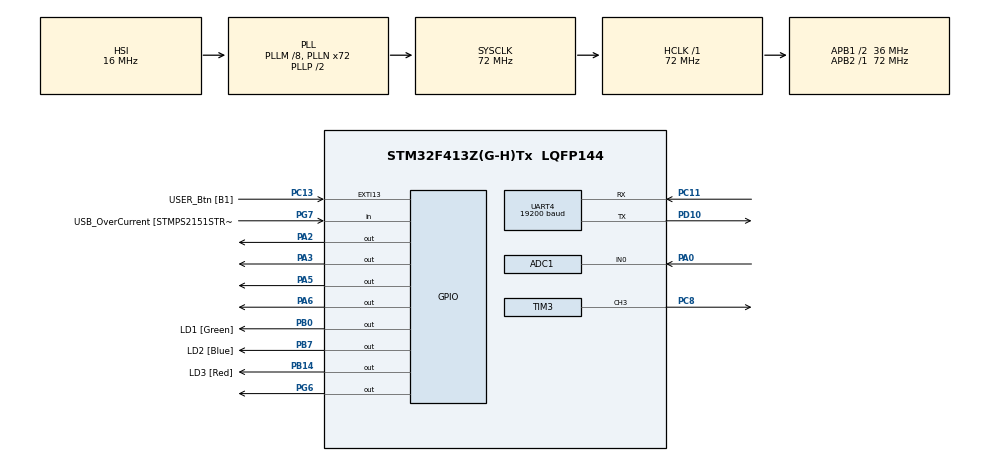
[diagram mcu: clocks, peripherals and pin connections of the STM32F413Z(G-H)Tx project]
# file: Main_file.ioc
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ADC1.Channel-2\#ChannelRegularConversion=ADC_CHANNEL_0
ADC1.NbrOfConversionFlag=1
ADC1.Rank-2\#ChannelRegularConversion=1
ADC1.SamplingTime-2\#ChannelRegularConversion=ADC_SAMPLETIME_3CYCLES
ADC1.master=1
Mcu.Family=STM32F4
Mcu.Name=STM32F413Z(G-H)Tx
Mcu.Package=LQFP144
NVIC.PriorityGroup=NVIC_PRIORITYGROUP_4
NVIC.TIM2_IRQn=true\:0\:0\:false\:false\:true\:true\:true
NVIC.UART4_IRQn=true\:0\:0\:false\:false\:true\:true\:true
PA0.Signal=ADCx_IN0
PA10.GPIO_Label=USB_ID
PA10.Signal=USB_OTG_FS_ID
PA11.GPIO_Label=USB_DM
PA11.Signal=USB_OTG_FS_DM
PA12.GPIO_Label=USB_DP
PA12.Signal=USB_OTG_FS_DP
PA13.GPIO_Label=TMS
PA13.Mode=Serial_Wire
PA13.Signal=SYS_JTMS-SWDIO
PA14.GPIO_Label=TCK
PA14.Mode=Serial_Wire
PA14.Signal=SYS_JTCK-SWCLK
PA2.Signal=GPIO_Output
PA3.Signal=GPIO_Output
PA5.Signal=GPIO_Output
PA6.Signal=GPIO_Output
PA8.GPIO_Label=USB_SOF [TP1]
PA8.Signal=USB_OTG_FS_SOF
PA9.GPIO_Label=USB_VBUS
PA9.Signal=USB_OTG_FS_VBUS
PB0.GPIO_Label=LD1 [Green]
PB0.Signal=GPIO_Output
PB14.GPIO_Label=LD3 [Red]
PB14.Signal=GPIO_Output
PB3.GPIO_Label=SWO
PB3.Signal=SYS_JTDO-SWO
PB7.GPIO_Label=LD2 [Blue]
PB7.Signal=GPIO_Output
PC11.Mode=Asynchronous
PC11.Signal=UART4_RX
PC13.GPIO_Label=USER_Btn [B1]
PC13.Signal=GPXTI13
PC14-OSC32_IN.Signal=RCC_OSC32_IN
PC15-OSC32_OUT.Signal=RCC_OSC32_OUT
PC8.Signal=S_TIM3_CH3
PD10.Mode=Asynchronous
PD10.Signal=UART4_TX
PD8.GPIO_Label=STLK_RX [STM32F103CBT6_PA3]
PD8.Signal=USART3_TX
PD9.GPIO_Label=STLK_TX [STM32F103CBT6_PA2]
PD9.Signal=USART3_RX
PG6.Signal=GPIO_Output
PG7.GPIO_Label=USB_OverCurrent [STMPS2151STR_FAULT]
PG7.Signal=GPIO_Input
PH0\ -\ OSC_IN.GPIO_Label=MCO
PH0\ -\ OSC_IN.Mode=HSE-External-Oscillator
PH0\ -\ OSC_IN.Signal=RCC_OSC_IN
PH1\ -\ OSC_OUT.Mode=HSE-External-Oscillator
PH1\ -\ OSC_OUT.Signal=RCC_OSC_OUT
ProjectManager.HeapSize=0x200
ProjectManager.StackSize=0x400
ProjectManager.TargetToolchain=MDK-ARM V5.32
RCC.48MHZClocksFreq_Value=24000000
RCC.AHBFreq_Value=72000000
RCC.APB1CLKDivider=RCC_HCLK_DIV2
RCC.APB1Freq_Value=36000000
RCC.APB1TimFreq_Value=72000000
RCC.APB2Freq_Value=72000000
RCC.APB2TimFreq_Value=72000000
RCC.CortexFreq_Value=72000000
RCC.HCLKFreq_Value=72000000
RCC.HSE_VALUE=8000000
RCC.HSI_VALUE=16000000
RCC.PLLM=8
RCC.PLLMUL=RCC_PLL_MUL9
RCC.PLLN=72
RCC.PRESCALERUSB=RCC_USBCLKSOURCE_PLL_DIV1_5
RCC.SYSCLKFreq_VALUE=72000000
RCC.SYSCLKSource=RCC_SYSCLKSOURCE_PLLCLK
RCC.SYSCLKSourceVirtual=RCC_SYSCLKSOURCE_PLLCLK
RCC.USBFreq_Value=72000000
RCC.VCOOutputFreq_Value=144000000
SH.ADCx_IN0.0=ADC1_IN0,IN0
SH.S_TIM3_CH3.0=TIM3_CH3,PWM Generation3 CH3
TIM2.Period=4294967295
TIM2.Prescaler=71
TIM3.Channel-PWM\ Generation3\ CH3=TIM_CHANNEL_3
TIM3.Period=20000-1
TIM3.Prescaler=72-1
TIM3.Pulse-PWM\ Generation3\ CH3=1000
TIM5.Prescaler=14400-1
UART4.BaudRate=19200
UART4.VirtualMode=Asynchronous
VP_TIM2_VS_ClockSourceINT.Mode=Internal
VP_TIM3_VS_ClockSourceINT.Mode=Internal
VP_TIM5_VS_ClockSourceINT.Mode=Internal
board=NUCLEO-F413ZH

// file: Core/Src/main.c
/* USER CODE BEGIN Header */
/**
  ******************************************************************************
  * @file           : main.c
  * @brief          : Main program body
  ******************************************************************************
  * @attention
  *
  * <h2><center>&copy; Copyright (c) 2022 STMicroelectronics.
  * All rights reserved.</center></h2>
  *
  * This software component is licensed by ST under BSD 3-Clause license,
  * the "License"; You may not use this file except in compliance with the
  * License. You may obtain a copy of the License at:
  *                        opensource.org/licenses/BSD-3-Clause
  *
  ******************************************************************************
  */
/* USER CODE END Header */
#include "main.h"

/* USER CODE BEGIN Includes */
#include "step.h"
#include "servo.h"
#include "remoteControl.h"
#include "Reverse.h"
/* USER CODE END Includes */

ADC_HandleTypeDef hadc1;

TIM_HandleTypeDef htim2;
TIM_HandleTypeDef htim3;
TIM_HandleTypeDef htim5;

UART_HandleTypeDef huart4;

/* USER CODE BEGIN PV */
uint16_t Servo;
uint16_t Step;
uint8_t counter = 0;

uint8_t sendData[1];
uint8_t getData[1]; // array for received byte
uint8_t Data[6]; // array for all received bytes. byte1,6 - check byte 0x7E; byte2,3 - data for servo and motor; byte4 - buttonState; byte5 - check sum

uint8_t connection = 0;

uint8_t Servo_array[5000] = {0};
uint8_t Servo_reverse_array[5000] = {0};

uint8_t Step_array[5000] = {0};
uint8_t Step_reverse_array[5000] = {0};

//uint32_t Time_array[3000] = {0};
//uint32_t Time_reverse_array[3000] = {0};

uint16_t sizeofArr = 0; // size of servo and motor arrays

uint8_t ButtonCnt = 0; // How many times buttonState is 2

float c[4] = {0, 0, 0, 0};

uint8_t DataStatus=0;
/* USER CODE END PV */

void SystemClock_Config(void);
static void MX_GPIO_Init(void);
static void MX_ADC1_Init(void);
static void MX_TIM2_Init(void);
static void MX_TIM3_Init(void);
static void MX_UART4_Init(void);
static void MX_TIM5_Init(void);

/* USER CODE BEGIN 0 */
void HAL_UART_RxCpltCallback(UART_HandleTypeDef *huart)
	{
		Data[counter] = getData[0]; // receive data byte by byte and save in Data[6] array
		counter += 1;

		if (counter == 6) // when counter is 6 => all data has beeng received
		{
			counter = 0;
			if (Data[0] == Data[5] && Data[0] == 0x7E && Data[4] == crc8(Data, 4))
				{
				DataStatus = 1; // Data transmition has been ended and data are correct
				if (connection == 0) connection = 1; // if this is the first data receiving, connection is 0
				if (Data[3] == 2) ButtonCnt += 1; // Check buttonState
				}
		}
	}

/* USER CODE END 0 */

int main(void)
{

  /* MCU Configuration--------------------------------------------------------*/

  /* Reset of all peripherals, Initializes the Flash interface and the Systick. */
  HAL_Init();

  /* Configure the system clock */
  SystemClock_Config();

  /* Initialize all configured peripherals */
  MX_GPIO_Init();
  MX_ADC1_Init();
  MX_TIM2_Init();
  MX_TIM3_Init();
  MX_UART4_Init();
  MX_TIM5_Init();
  /* USER CODE BEGIN 2 */
	HAL_ADC_Start(&hadc1);
	HAL_TIM_PWM_Start(&htim3, TIM_CHANNEL_3);
	HAL_TIM_Base_Start(&htim2);
	HAL_TIM_Base_Start(&htim5);

	while (connection != 1) // wait for data package to establish connection
	{
		HAL_UART_Receive_IT(&huart4, getData, 1);
	}
	HAL_Delay(100);

	sendValue(&huart4, c, 0, 0); // send response to remote control
	DataStatus = 0;
	__HAL_TIM_SetCounter(&htim5, 0);
  /* USER CODE END 2 */

  /* Infinite loop */
  while (1)
  {

    /* USER CODE BEGIN 3 */
		HAL_UART_Receive_IT(&huart4, getData, 1);

		if (DataStatus == 1) // if data is correct
		{
		if (ButtonCnt == 2) // if the button on the remote has been pressed twice => stop reverse mode
		{										// if ButtonCnt is 1 => start data aggregation in stepSetValue function in microDelay subfunction in step.c library
			servoStop(&htim3);
			CreateReverseArr(); // create array with reverse servo and motor values
			ProccesRevArr(&htim3, &htim2, &htim5, &huart4); // reverse array processing
		}
		servoSetPosition(&htim3, Data[1]);
		stepSetValue(&htim2, 3, Data[2]);

		/**if (ButtonCnt == 1)
		{
			WrittingArr(Data[1], Data[2], currentTime);
		}**/
		DataStatus = 0;
		}
  }

  /* USER CODE END 3 */
}

void SystemClock_Config(void)
{
  RCC_OscInitTypeDef RCC_OscInitStruct = {0};
  RCC_ClkInitTypeDef RCC_ClkInitStruct = {0};

  /** Configure the main internal regulator output voltage
  */
  __HAL_RCC_PWR_CLK_ENABLE();
  __HAL_PWR_VOLTAGESCALING_CONFIG(PWR_REGULATOR_VOLTAGE_SCALE1);
  /** Initializes the RCC Oscillators according to the specified parameters
  * in the RCC_OscInitTypeDef structure.
  */
  RCC_OscInitStruct.OscillatorType = RCC_OSCILLATORTYPE_HSI;
  RCC_OscInitStruct.HSIState = RCC_HSI_ON;
  RCC_OscInitStruct.HSICalibrationValue = RCC_HSICALIBRATION_DEFAULT;
  RCC_OscInitStruct.PLL.PLLState = RCC_PLL_ON;
  RCC_OscInitStruct.PLL.PLLSource = RCC_PLLSOURCE_HSI;
  RCC_OscInitStruct.PLL.PLLM = 8;
  RCC_OscInitStruct.PLL.PLLN = 72;
  RCC_OscInitStruct.PLL.PLLP = RCC_PLLP_DIV2;
  RCC_OscInitStruct.PLL.PLLQ = 2;
  RCC_OscInitStruct.PLL.PLLR = 2;
  if (HAL_RCC_OscConfig(&RCC_OscInitStruct) != HAL_OK)
  {
    Error_Handler();
  }
  /** Initializes the CPU, AHB and APB buses clocks
  */
  RCC_ClkInitStruct.ClockType = RCC_CLOCKTYPE_HCLK|RCC_CLOCKTYPE_SYSCLK
                              |RCC_CLOCKTYPE_PCLK1|RCC_CLOCKTYPE_PCLK2;
  RCC_ClkInitStruct.SYSCLKSource = RCC_SYSCLKSOURCE_PLLCLK;
  RCC_ClkInitStruct.AHBCLKDivider = RCC_SYSCLK_DIV1;
  RCC_ClkInitStruct.APB1CLKDivider = RCC_HCLK_DIV2;
  RCC_ClkInitStruct.APB2CLKDivider = RCC_HCLK_DIV1;

  if (HAL_RCC_ClockConfig(&RCC_ClkInitStruct, FLASH_LATENCY_2) != HAL_OK)
  {
    Error_Handler();
  }
}

static void MX_ADC1_Init(void)
{

  ADC_ChannelConfTypeDef sConfig = {0};

  /** Configure the global features of the ADC (Clock, Resolution, Data Alignment and number of conversion)
  */
  hadc1.Instance = ADC1;
  hadc1.Init.ClockPrescaler = ADC_CLOCK_SYNC_PCLK_DIV2;
  hadc1.Init.Resolution = ADC_RESOLUTION_12B;
  hadc1.Init.ScanConvMode = DISABLE;
  hadc1.Init.ContinuousConvMode = DISABLE;
  hadc1.Init.DiscontinuousConvMode = DISABLE;
  hadc1.Init.ExternalTrigConvEdge = ADC_EXTERNALTRIGCONVEDGE_NONE;
  hadc1.Init.ExternalTrigConv = ADC_SOFTWARE_START;
  hadc1.Init.DataAlign = ADC_DATAALIGN_RIGHT;
  hadc1.Init.NbrOfConversion = 1;
  hadc1.Init.DMAContinuousRequests = DISABLE;
  hadc1.Init.EOCSelection = ADC_EOC_SINGLE_CONV;
  if (HAL_ADC_Init(&hadc1) != HAL_OK)
  {
    Error_Handler();
  }
  /** Configure for the selected ADC regular channel its corresponding rank in the sequencer and its sample time.
  */
  sConfig.Channel = ADC_CHANNEL_0;
  sConfig.Rank = 1;
  sConfig.SamplingTime = ADC_SAMPLETIME_3CYCLES;
  if (HAL_ADC_ConfigChannel(&hadc1, &sConfig) != HAL_OK)
  {
    Error_Handler();
  }

}

static void MX_TIM2_Init(void)
{

  TIM_ClockConfigTypeDef sClockSourceConfig = {0};
  TIM_MasterConfigTypeDef sMasterConfig = {0};

  htim2.Instance = TIM2;
  htim2.Init.Prescaler = 71;
  htim2.Init.CounterMode = TIM_COUNTERMODE_UP;
  htim2.Init.Period = 4294967295;
  htim2.Init.ClockDivision = TIM_CLOCKDIVISION_DIV1;
  htim2.Init.AutoReloadPreload = TIM_AUTORELOAD_PRELOAD_DISABLE;
  if (HAL_TIM_Base_Init(&htim2) != HAL_OK)
  {
    Error_Handler();
  }
  sClockSourceConfig.ClockSource = TIM_CLOCKSOURCE_INTERNAL;
  if (HAL_TIM_ConfigClockSource(&htim2, &sClockSourceConfig) != HAL_OK)
  {
    Error_Handler();
  }
  sMasterConfig.MasterOutputTrigger = TIM_TRGO_RESET;
  sMasterConfig.MasterSlaveMode = TIM_MASTERSLAVEMODE_DISABLE;
  if (HAL_TIMEx_MasterConfigSynchronization(&htim2, &sMasterConfig) != HAL_OK)
  {
    Error_Handler();
  }

}

static void MX_TIM3_Init(void)
{

  TIM_ClockConfigTypeDef sClockSourceConfig = {0};
  TIM_MasterConfigTypeDef sMasterConfig = {0};
  TIM_OC_InitTypeDef sConfigOC = {0};

  htim3.Instance = TIM3;
  htim3.Init.Prescaler = 72-1;
  htim3.Init.CounterMode = TIM_COUNTERMODE_UP;
  htim3.Init.Period = 20000-1;
  htim3.Init.ClockDivision = TIM_CLOCKDIVISION_DIV1;
  htim3.Init.AutoReloadPreload = TIM_AUTORELOAD_PRELOAD_DISABLE;
  if (HAL_TIM_Base_Init(&htim3) != HAL_OK)
  {
    Error_Handler();
  }
  sClockSourceConfig.ClockSource = TIM_CLOCKSOURCE_INTERNAL;
  if (HAL_TIM_ConfigClockSource(&htim3, &sClockSourceConfig) != HAL_OK)
  {
    Error_Handler();
  }
  if (HAL_TIM_PWM_Init(&htim3) != HAL_OK)
  {
    Error_Handler();
  }
  sMasterConfig.MasterOutputTrigger = TIM_TRGO_RESET;
  sMasterConfig.MasterSlaveMode = TIM_MASTERSLAVEMODE_DISABLE;
  if (HAL_TIMEx_MasterConfigSynchronization(&htim3, &sMasterConfig) != HAL_OK)
  {
    Error_Handler();
  }
  sConfigOC.OCMode = TIM_OCMODE_PWM1;
  sConfigOC.Pulse = 1000;
  sConfigOC.OCPolarity = TIM_OCPOLARITY_HIGH;
  sConfigOC.OCFastMode = TIM_OCFAST_DISABLE;
  if (HAL_TIM_PWM_ConfigChannel(&htim3, &sConfigOC, TIM_CHANNEL_3) != HAL_OK)
  {
    Error_Handler();
  }
  HAL_TIM_MspPostInit(&htim3);

}

static void MX_TIM5_Init(void)
{

  TIM_ClockConfigTypeDef sClockSourceConfig = {0};
  TIM_MasterConfigTypeDef sMasterConfig = {0};

  htim5.Instance = TIM5;
  htim5.Init.Prescaler = 14400-1;
  htim5.Init.CounterMode = TIM_COUNTERMODE_UP;
  htim5.Init.Period = 4294967295;
  htim5.Init.ClockDivision = TIM_CLOCKDIVISION_DIV1;
  htim5.Init.AutoReloadPreload = TIM_AUTORELOAD_PRELOAD_DISABLE;
  if (HAL_TIM_Base_Init(&htim5) != HAL_OK)
  {
    Error_Handler();
  }
  sClockSourceConfig.ClockSource = TIM_CLOCKSOURCE_INTERNAL;
  if (HAL_TIM_ConfigClockSource(&htim5, &sClockSourceConfig) != HAL_OK)
  {
    Error_Handler();
  }
  sMasterConfig.MasterOutputTrigger = TIM_TRGO_RESET;
  sMasterConfig.MasterSlaveMode = TIM_MASTERSLAVEMODE_DISABLE;
  if (HAL_TIMEx_MasterConfigSynchronization(&htim5, &sMasterConfig) != HAL_OK)
  {
    Error_Handler();
  }

}

static void MX_UART4_Init(void)
{

  huart4.Instance = UART4;
  huart4.Init.BaudRate = 19200;
  huart4.Init.WordLength = UART_WORDLENGTH_8B;
  huart4.Init.StopBits = UART_STOPBITS_1;
  huart4.Init.Parity = UART_PARITY_NONE;
  huart4.Init.Mode = UART_MODE_TX_RX;
  huart4.Init.HwFlowCtl = UART_HWCONTROL_NONE;
  huart4.Init.OverSampling = UART_OVERSAMPLING_16;
  if (HAL_UART_Init(&huart4) != HAL_OK)
  {
    Error_Handler();
  }

}

static void MX_GPIO_Init(void)
{
  GPIO_InitTypeDef GPIO_InitStruct = {0};

  /* GPIO Ports Clock Enable */
  __HAL_RCC_GPIOC_CLK_ENABLE();
  __HAL_RCC_GPIOH_CLK_ENABLE();
  __HAL_RCC_GPIOA_CLK_ENABLE();
  __HAL_RCC_GPIOB_CLK_ENABLE();
  __HAL_RCC_GPIOD_CLK_ENABLE();
  __HAL_RCC_GPIOG_CLK_ENABLE();

  /*Configure GPIO pin Output Level */
  HAL_GPIO_WritePin(GPIOA, GPIO_PIN_2|GPIO_PIN_3|GPIO_PIN_5|GPIO_PIN_6, GPIO_PIN_RESET);

  /*Configure GPIO pin Output Level */
  HAL_GPIO_WritePin(GPIOB, LD1_Pin|LD3_Pin|LD2_Pin, GPIO_PIN_RESET);

  /*Configure GPIO pin Output Level */
  HAL_GPIO_WritePin(GPIOG, GPIO_PIN_6, GPIO_PIN_RESET);

  /*Configure GPIO pin : USER_Btn_Pin */
  GPIO_InitStruct.Pin = USER_Btn_Pin;
  GPIO_InitStruct.Mode = GPIO_MODE_IT_RISING;
  GPIO_InitStruct.Pull = GPIO_NOPULL;
  HAL_GPIO_Init(USER_Btn_GPIO_Port, &GPIO_InitStruct);

  /*Configure GPIO pins : PA2 PA3 PA5 PA6 */
  GPIO_InitStruct.Pin = GPIO_PIN_2|GPIO_PIN_3|GPIO_PIN_5|GPIO_PIN_6;
  GPIO_InitStruct.Mode = GPIO_MODE_OUTPUT_PP;
  GPIO_InitStruct.Pull = GPIO_NOPULL;
  GPIO_InitStruct.Speed = GPIO_SPEED_FREQ_LOW;
  HAL_GPIO_Init(GPIOA, &GPIO_InitStruct);

  /*Configure GPIO pins : LD1_Pin LD3_Pin LD2_Pin */
  GPIO_InitStruct.Pin = LD1_Pin|LD3_Pin|LD2_Pin;
  GPIO_InitStruct.Mode = GPIO_MODE_OUTPUT_PP;
  GPIO_InitStruct.Pull = GPIO_NOPULL;
  GPIO_InitStruct.Speed = GPIO_SPEED_FREQ_LOW;
  HAL_GPIO_Init(GPIOB, &GPIO_InitStruct);

  /*Configure GPIO pins : STLK_RX_Pin STLK_TX_Pin */
  GPIO_InitStruct.Pin = STLK_RX_Pin|STLK_TX_Pin;
  GPIO_InitStruct.Mode = GPIO_MODE_AF_PP;
  GPIO_InitStruct.Pull = GPIO_NOPULL;
  GPIO_InitStruct.Speed = GPIO_SPEED_FREQ_VERY_HIGH;
  GPIO_InitStruct.Alternate = GPIO_AF7_USART3;
  HAL_GPIO_Init(GPIOD, &GPIO_InitStruct);

  /*Configure GPIO pin : PG6 */
  GPIO_InitStruct.Pin = GPIO_PIN_6;
  GPIO_InitStruct.Mode = GPIO_MODE_OUTPUT_PP;
  GPIO_InitStruct.Pull = GPIO_NOPULL;
  GPIO_InitStruct.Speed = GPIO_SPEED_FREQ_LOW;
  HAL_GPIO_Init(GPIOG, &GPIO_InitStruct);

  /*Configure GPIO pin : USB_OverCurrent_Pin */
  GPIO_InitStruct.Pin = USB_OverCurrent_Pin;
  GPIO_InitStruct.Mode = GPIO_MODE_INPUT;
  GPIO_InitStruct.Pull = GPIO_NOPULL;
  HAL_GPIO_Init(USB_OverCurrent_GPIO_Port, &GPIO_InitStruct);

  /*Configure GPIO pins : USB_SOF_Pin USB_ID_Pin USB_DM_Pin USB_DP_Pin */
  GPIO_InitStruct.Pin = USB_SOF_Pin|USB_ID_Pin|USB_DM_Pin|USB_DP_Pin;
  GPIO_InitStruct.Mode = GPIO_MODE_AF_PP;
  GPIO_InitStruct.Pull = GPIO_NOPULL;
  GPIO_InitStruct.Speed = GPIO_SPEED_FREQ_VERY_HIGH;
  GPIO_InitStruct.Alternate = GPIO_AF10_OTG_FS;
  HAL_GPIO_Init(GPIOA, &GPIO_InitStruct);

}

void Error_Handler(void)
{
  __disable_irq();
  while (1)
  {
  }
}

/************************ (C) COPYRIGHT STMicroelectronics *****END OF FILE****/
